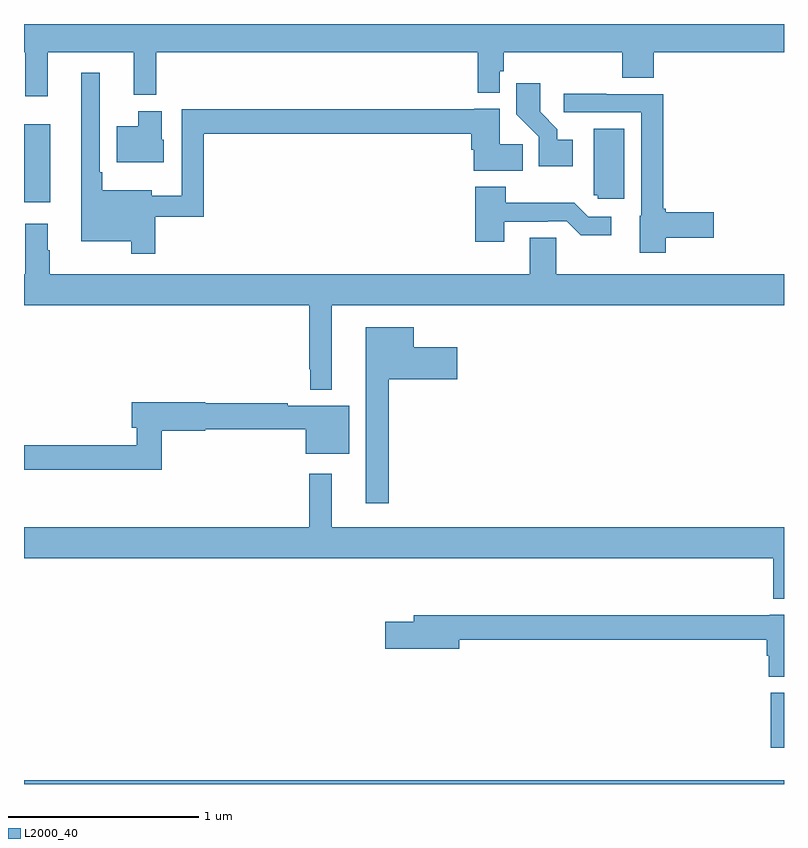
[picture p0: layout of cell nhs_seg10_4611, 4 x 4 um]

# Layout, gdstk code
import gdstk
lib = gdstk.Library(unit=1e-6, precision=1e-09)
def R(c, l, rs):  # rectangles x0, y0, x1, y1
    for r in rs: c.add(gdstk.rectangle(r[:2], r[2:], *l))
def P(c, l, *ps):  # polygons
    for p in ps: c.add(gdstk.Polygon(p, *l))
L2000_40 = (2000, 40)

nhs_seg10_4611 = lib.new_cell('nhs_seg10_4611')
R(nhs_seg10_4611, L2000_40, [(375,1260.5,379,1260.52), (378.929,1260.69,379,1260.979), (375,1263.563,375.139,1263.973)])
P(nhs_seg10_4611, L2000_40, [(377.389,1264.139),(377.505,1264.139),(377.505,1264.251),(377.525,1264.251),(377.525,1264.352),(378.149,1264.352),(378.149,1264.216),(378.314,1264.216),(378.314,1264.352),(379,1264.352),(379,1264.5),(375,1264.5),(375,1264.352),(375.007,1264.352),(375.007,1264.119),(375.125,1264.119),(375.125,1264.352),(375.578,1264.352),(375.578,1264.127),(375.695,1264.127),(375.695,1264.352),(377.389,1264.352)],
  [(375.692,1263.486),(375.947,1263.486),(375.947,1263.922),(377.354,1263.922),(377.354,1263.839),(377.366,1263.839),(377.366,1263.728),(377.624,1263.728),(377.624,1263.866),(377.503,1263.866),(377.503,1264.054),(377.37,1264.054),(377.37,1264.051),(375.831,1264.051),(375.831,1263.595),(375.673,1263.595),(375.673,1263.625),(375.412,1263.625),(375.412,1263.721),(375.399,1263.721),(375.399,1264.243),(375.302,1264.243),(375.302,1263.356),(375.564,1263.356),(375.564,1263.291),(375.692,1263.291)],
  [(377.887,1263.892),(377.806,1263.892),(377.806,1263.947),(377.716,1264.037),(377.716,1264.189),(377.59,1264.189),(377.59,1264.026),(377.709,1263.907),(377.709,1263.752),(377.887,1263.752)],
  [(378.378,1263.374),(378.631,1263.374),(378.631,1263.509),(378.378,1263.509),(378.378,1263.527),(378.365,1263.527),(378.365,1264.131),(378.065,1264.131),(378.065,1264.134),(377.841,1264.134),(377.841,1264.035),(378.249,1264.035),(378.249,1263.492),(378.242,1263.492),(378.242,1263.296),(378.378,1263.296)],
  [(375.736,1263.891),(375.724,1263.891),(375.724,1264.042),(375.602,1264.042),(375.602,1263.961),(375.488,1263.961),(375.488,1263.773),(375.736,1263.773)],
  [(378.16,1263.949),(377.999,1263.949),(377.999,1263.6),(378.021,1263.6),(378.021,1263.579),(378.16,1263.579)],
  [(377.527,1263.459),(377.756,1263.459),(377.756,1263.462),(377.856,1263.462),(377.929,1263.389),(378.091,1263.389),(378.091,1263.486),(377.97,1263.486),(377.897,1263.559),(377.535,1263.559),(377.535,1263.643),(377.375,1263.643),(377.375,1263.354),(377.527,1263.354)],
  [(376.621,1263.02),(379,1263.02),(379,1263.184),(377.802,1263.184),(377.802,1263.374),(377.663,1263.374),(377.663,1263.184),(375.136,1263.184),(375.136,1263.308),(375.124,1263.308),(375.124,1263.448),(375.007,1263.448),(375.007,1263.184),(375,1263.184),(375,1263.02),(376.5,1263.02),(376.5,1262.683),(376.506,1262.683),(376.506,1262.576),(376.621,1262.576)],
  [(376.921,1262.63),(377.281,1262.63),(377.281,1262.8),(377.05,1262.8),(377.05,1262.905),(376.799,1262.905),(376.799,1261.977),(376.921,1261.977)],
  [(375.725,1262.36),(375.954,1262.36),(375.954,1262.368),(376.484,1262.368),(376.484,1262.237),(376.711,1262.237),(376.711,1262.491),(376.388,1262.491),(376.388,1262.504),(375.954,1262.504),(375.954,1262.51),(375.566,1262.51),(375.566,1262.375),(375.593,1262.375),(375.593,1262.282),(375,1262.282),(375,1262.154),(375.725,1262.154)],
  [(379,1261.852),(376.621,1261.852),(376.621,1262.134),(376.5,1262.134),(376.5,1261.852),(375,1261.852),(375,1261.688),(378.943,1261.688),(378.943,1261.475),(379,1261.475)],
  [(379,1261.39),(378.924,1261.39),(378.924,1261.387),(377.051,1261.387),(377.051,1261.353),(376.902,1261.353),(376.902,1261.211),(377.29,1261.211),(377.29,1261.258),(378.908,1261.258),(378.908,1261.175),(378.92,1261.175),(378.92,1261.064),(379,1261.064)])

lib.write_gds('nhs_seg10_4611.gds')
